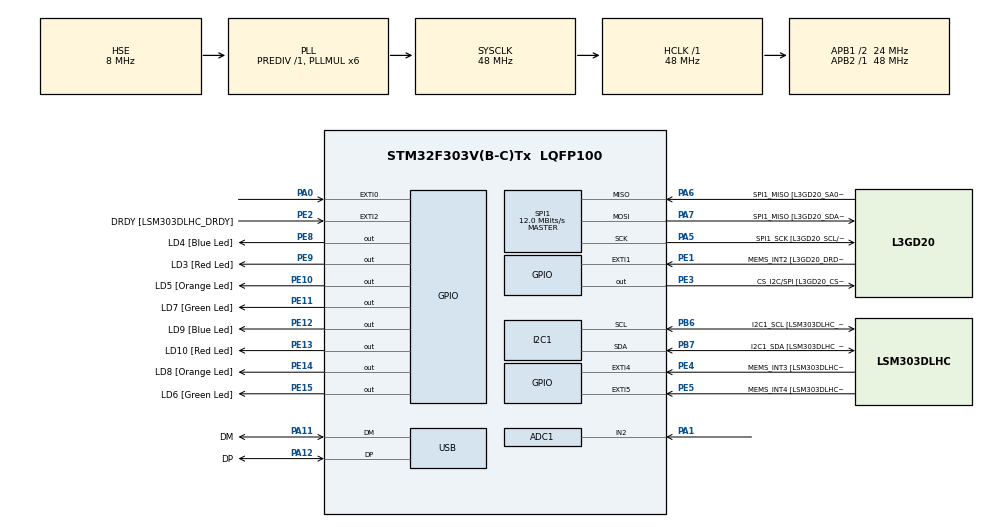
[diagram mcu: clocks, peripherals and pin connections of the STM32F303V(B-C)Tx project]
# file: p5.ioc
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ADC1.Channel-0\#ChannelRegularConversion=ADC_CHANNEL_2
ADC1.EnableAnalogWatchDog1=false
ADC1.NbrOfConversionFlag=1
ADC1.Offset-0\#ChannelRegularConversion=0
ADC1.OffsetNumber-0\#ChannelRegularConversion=ADC_OFFSET_NONE
ADC1.Rank-0\#ChannelRegularConversion=1
ADC1.SamplingTime-0\#ChannelRegularConversion=ADC_SAMPLETIME_601CYCLES_5
ADC1.SamplingTimeOPAMP-0\#ChannelRegularConversion=ADC_SAMPLETIME_19CYCLES_5
ADC1.master=1
I2C1.Timing=0x2000090E
I2C1.Timing-I2C=0x2000090E
Mcu.Family=STM32F3
Mcu.Name=STM32F303V(B-C)Tx
Mcu.Package=LQFP100
NVIC.ADC1_2_IRQn=true\:0\:0\:true\:false\:true\:true\:true
NVIC.EXTI0_IRQn=true\:1\:0\:true\:false\:true\:true\:true
NVIC.PriorityGroup=NVIC_PRIORITYGROUP_1
PA0.GPIO_PuPd=GPIO_PULLDOWN
PA0.Signal=GPXTI0
PA1.Mode=IN2-Single-Ended
PA1.Signal=ADC1_IN2
PA11.GPIO_Label=DM
PA11.Mode=Device
PA11.Signal=USB_DM
PA12.GPIO_Label=DP
PA12.Mode=Device
PA12.Signal=USB_DP
PA13.GPIO_Label=SWDIO
PA13.Mode=Serial_Wire
PA13.Signal=SYS_JTMS-SWDIO
PA14.GPIO_Label=SWCLK
PA14.Mode=Serial_Wire
PA14.Signal=SYS_JTCK-SWCLK
PA5.GPIO_Label=SPI1_SCK [L3GD20_SCL/SPC]
PA5.Mode=Full_Duplex_Master
PA5.Signal=SPI1_SCK
PA6.GPIO_Label=SPI1_MISO [L3GD20_SA0/SDO]
PA6.Mode=Full_Duplex_Master
PA6.Signal=SPI1_MISO
PA7.GPIO_Label=SPI1_MISO [L3GD20_SDA/SDI/SDO]
PA7.Mode=Full_Duplex_Master
PA7.Signal=SPI1_MOSI
PB3.GPIO_Label=SWO
PB3.Signal=SYS_JTDO-TRACESWO
PB6.GPIO_Label=I2C1_SCL [LSM303DLHC_SCL]
PB6.GPIO_Pu=GPIO_PULLUP
PB6.Mode=I2C
PB6.Signal=I2C1_SCL
PB7.GPIO_Label=I2C1_SDA [LSM303DLHC_SDA]
PB7.GPIO_Pu=GPIO_PULLUP
PB7.Mode=I2C
PB7.Signal=I2C1_SDA
PC14-OSC32_IN.GPIO_Label=OSC32_IN
PC14-OSC32_IN.Signal=RCC_OSC32_IN
PC15-OSC32_OUT.GPIO_Label=OSC32_OUT
PC15-OSC32_OUT.Signal=RCC_OSC32_OUT
PE1.GPIO_Label=MEMS_INT2 [L3GD20_DRDY/INT2]
PE1.GPIO_ModeDefaultEXTI=GPIO_MODE_EVT_RISING
PE1.Signal=GPXTI1
PE10.GPIO_Label=LD5 [Orange Led]
PE10.Signal=GPIO_Output
PE11.GPIO_Label=LD7 [Green Led]
PE11.Signal=GPIO_Output
PE12.GPIO_Label=LD9 [Blue Led]
PE12.Signal=GPIO_Output
PE13.GPIO_Label=LD10 [Red Led]
PE13.Signal=GPIO_Output
PE14.GPIO_Label=LD8 [Orange Led]
PE14.Signal=GPIO_Output
PE15.GPIO_Label=LD6 [Green Led]
PE15.Signal=GPIO_Output
PE2.GPIO_Label=DRDY [LSM303DLHC_DRDY]
PE2.GPIO_ModeDefaultEXTI=GPIO_MODE_EVT_RISING
PE2.Signal=GPXTI2
PE3.GPIO_Label=CS_I2C/SPI [L3GD20_CS_I2C/SPI]
PE3.Signal=GPIO_Output
PE4.GPIO_Label=MEMS_INT3 [LSM303DLHC_INT1]
PE4.GPIO_ModeDefaultEXTI=GPIO_MODE_EVT_RISING
PE4.Signal=GPXTI4
PE5.GPIO_Label=MEMS_INT4 [LSM303DLHC_INT2]
PE5.GPIO_ModeDefaultEXTI=GPIO_MODE_EVT_RISING
PE5.Signal=GPXTI5
PE8.GPIO_Label=LD4 [Blue Led]
PE8.Signal=GPIO_Output
PE9.GPIO_Label=LD3 [Red Led]
PE9.Signal=GPIO_Output
PF0-OSC_IN.GPIO_Label=OSC_IN
PF0-OSC_IN.Mode=HSE-External-Clock-Source
PF0-OSC_IN.Signal=RCC_OSC_IN
PF1-OSC_OUT.GPIO_Label=OSC_OUT
PF1-OSC_OUT.Signal=RCC_OSC_OUT
ProjectManager.HeapSize=0x200
ProjectManager.StackSize=0x400
ProjectManager.TargetToolchain=STM32CubeIDE
RCC.AHBFreq_Value=48000000
RCC.APB1CLKDivider=RCC_HCLK_DIV2
RCC.APB1Freq_Value=24000000
RCC.APB1TimFreq_Value=48000000
RCC.APB2Freq_Value=48000000
RCC.APB2TimFreq_Value=48000000
RCC.CortexFreq_Value=48000000
RCC.HCLKFreq_Value=48000000
RCC.HSE_VALUE=8000000
RCC.HSI_VALUE=8000000
RCC.LSE_VALUE=32768
RCC.PLLMUL=RCC_PLL_MUL6
RCC.SYSCLKFreq_VALUE=48000000
RCC.SYSCLKSourceVirtual=RCC_SYSCLKSOURCE_PLLCLK
RCC.USBFreq_Value=48000000
SPI1.BaudRatePrescaler=SPI_BAUDRATEPRESCALER_4
SPI1.BaudRatePrescaler-Full_Duplex_Master=SPI_BAUDRATEPRESCALER_2
SPI1.CalculateBaudRate=12.0 MBits/s
SPI1.CalculateBaudRate-Full_Duplex_Master=24.0 MBits/s
SPI1.Direction=SPI_DIRECTION_2LINES
SPI1.Mode=SPI_MODE_MASTER
SPI1.Mode-Full_Duplex_Master=SPI_MODE_MASTER
SPI1.VirtualType=VM_MASTER
board=STM32F3DISCOVERY

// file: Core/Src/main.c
/* USER CODE BEGIN Header */
/**
  ******************************************************************************
  * @file           : main.c
  * @brief          : Main program body
  ******************************************************************************
  * @attention
  *
  * <h2><center>&copy; Copyright (c) 2022 STMicroelectronics.
  * All rights reserved.</center></h2>
  *
  * This software component is licensed by ST under BSD 3-Clause license,
  * the "License"; You may not use this file except in compliance with the
  * License. You may obtain a copy of the License at:
  *                        opensource.org/licenses/BSD-3-Clause
  *
  ******************************************************************************
  */
/* USER CODE END Header */
#include "main.h"

/* USER CODE BEGIN Includes */
#include "LiquidCrystal.h"
/* USER CODE END Includes */

ADC_HandleTypeDef hadc1;

I2C_HandleTypeDef hi2c1;

SPI_HandleTypeDef hspi1;

PCD_HandleTypeDef hpcd_USB_FS;

void SystemClock_Config(void);
static void MX_GPIO_Init(void);
static void MX_I2C1_Init(void);
static void MX_SPI1_Init(void);
static void MX_USB_PCD_Init(void);
static void MX_ADC1_Init(void);

/* USER CODE BEGIN 0 */
unsigned char data[3]="";
typedef unsigned char byte;

byte customCharLock[8] = {
  0x00,
  0x0E,
  0x0A,
  0x0A,
  0x1F,
  0x1F,
  0x1F,
  0x00
};

byte nothing[8] = {
  0x00,
  0x00,
  0x00,
  0x00,
  0x00,
  0x00,
  0x00,
  0x00
};

byte true[8] = {
  0x00,
  0x00,
  0x01,
  0x02,
  0x14,
  0x08,
  0x00,
  0x00
};

byte false[8] = {
  0x00,
  0x00,
  0x11,
  0x0A,
  0x04,
  0x0A,
  0x11,
  0x00
};

byte smile[] = {
  0x00,
  0x0A,
  0x00,
  0x11,
  0x0E,
  0x00,
  0x00,
  0x00
};

byte unLock[] = {
  0x00,
  0x0E,
  0x0A,
  0x08,
  0x1F,
  0x1F,
  0x1F,
  0x00
};

void start_page() {
	LiquidCrystal(GPIOD, GPIO_PIN_8, GPIO_PIN_9, GPIO_PIN_10, GPIO_PIN_11, GPIO_PIN_12, GPIO_PIN_13, GPIO_PIN_14);
	setCursor(0,0);
	print("     Start Page           Safe Box");

	createChar(0, customCharLock);
	createChar(1, nothing);
	setCursor(0,1);
	write(0);
	write(1);
	write(0);
	write(1);
	write(0);
	write(1);
	write(0);
	write(1);
	write(0);
	write(1);
	write(0);
	write(1);
	write(0);
	write(1);
	write(0);
	write(1);
	write(0);
	write(1);
	write(0);
}

void password_page() {
	clear();
	setCursor(0,0);
	print("   Enter 4 degree      of the Password");

	setCursor(0,1);
	write(1);
	write(1);
	write(1);
	write(1);
	write(1);
	write(1);
	write(1);
	write(1);
	write(0);
	write(0);
	write(0);
	write(0);

}

void correct() {
	clear();
	createChar(2, true);
	setCursor(0,1);
	write(1);
	write(1);
	write(1);
	write(1);
	write(2);
	print("  correct  ");
	write(2);
	//print(data);
}

void false0() {
	clear();
	createChar(3, false);
	setCursor(0,1);
	write(1);
	write(1);
	write(1);
	write(1);
	write(1);
	write(3);
	print("  false  ");
	write(3);
	//print(data);
	print("          try again");
}

void safe_box() {
	clear();
	setCursor(0,0);
	print("welcome to safe box");
	createChar(4, smile);
	createChar(5, unLock);
	setCursor(0,2);
	write(1);
	write(1);
	write(1);
	write(1);
	write(1);
	write(1);
	write(1);
	write(4);
	write(5);
	write(5);
	write(5);
	write(5);
	write(4);

}

/* USER CODE END 0 */

int main(void)
{

  /* MCU Configuration--------------------------------------------------------*/

  /* Reset of all peripherals, Initializes the Flash interface and the Systick. */
  HAL_Init();

  /* Configure the system clock */
  SystemClock_Config();

  /* Initialize all configured peripherals */
  MX_GPIO_Init();
  MX_I2C1_Init();
  MX_SPI1_Init();
  MX_USB_PCD_Init();
  MX_ADC1_Init();
  /* USER CODE BEGIN 2 */

  HAL_ADC_Start_IT(&hadc1);

  /* USER CODE END 2 */

  /* Infinite loop */
  while (1)
  {

  }
}

void SystemClock_Config(void)
{
  RCC_OscInitTypeDef RCC_OscInitStruct = {0};
  RCC_ClkInitTypeDef RCC_ClkInitStruct = {0};
  RCC_PeriphCLKInitTypeDef PeriphClkInit = {0};

  /** Initializes the RCC Oscillators according to the specified parameters
  * in the RCC_OscInitTypeDef structure.
  */
  RCC_OscInitStruct.OscillatorType = RCC_OSCILLATORTYPE_HSI|RCC_OSCILLATORTYPE_HSE;
  RCC_OscInitStruct.HSEState = RCC_HSE_BYPASS;
  RCC_OscInitStruct.HSEPredivValue = RCC_HSE_PREDIV_DIV1;
  RCC_OscInitStruct.HSIState = RCC_HSI_ON;
  RCC_OscInitStruct.HSICalibrationValue = RCC_HSICALIBRATION_DEFAULT;
  RCC_OscInitStruct.PLL.PLLState = RCC_PLL_ON;
  RCC_OscInitStruct.PLL.PLLSource = RCC_PLLSOURCE_HSE;
  RCC_OscInitStruct.PLL.PLLMUL = RCC_PLL_MUL6;
  if (HAL_RCC_OscConfig(&RCC_OscInitStruct) != HAL_OK)
  {
    Error_Handler();
  }
  /** Initializes the CPU, AHB and APB buses clocks
  */
  RCC_ClkInitStruct.ClockType = RCC_CLOCKTYPE_HCLK|RCC_CLOCKTYPE_SYSCLK
                              |RCC_CLOCKTYPE_PCLK1|RCC_CLOCKTYPE_PCLK2;
  RCC_ClkInitStruct.SYSCLKSource = RCC_SYSCLKSOURCE_PLLCLK;
  RCC_ClkInitStruct.AHBCLKDivider = RCC_SYSCLK_DIV1;
  RCC_ClkInitStruct.APB1CLKDivider = RCC_HCLK_DIV2;
  RCC_ClkInitStruct.APB2CLKDivider = RCC_HCLK_DIV1;

  if (HAL_RCC_ClockConfig(&RCC_ClkInitStruct, FLASH_LATENCY_1) != HAL_OK)
  {
    Error_Handler();
  }
  PeriphClkInit.PeriphClockSelection = RCC_PERIPHCLK_USB|RCC_PERIPHCLK_I2C1
                              |RCC_PERIPHCLK_ADC12;
  PeriphClkInit.Adc12ClockSelection = RCC_ADC12PLLCLK_DIV1;
  PeriphClkInit.I2c1ClockSelection = RCC_I2C1CLKSOURCE_HSI;
  PeriphClkInit.USBClockSelection = RCC_USBCLKSOURCE_PLL;
  if (HAL_RCCEx_PeriphCLKConfig(&PeriphClkInit) != HAL_OK)
  {
    Error_Handler();
  }
}

static void MX_ADC1_Init(void)
{

  ADC_MultiModeTypeDef multimode = {0};
  ADC_ChannelConfTypeDef sConfig = {0};

  /** Common config
  */
  hadc1.Instance = ADC1;
  hadc1.Init.ClockPrescaler = ADC_CLOCK_ASYNC_DIV1;
  hadc1.Init.Resolution = ADC_RESOLUTION_12B;
  hadc1.Init.ScanConvMode = ADC_SCAN_DISABLE;
  hadc1.Init.ContinuousConvMode = DISABLE;
  hadc1.Init.DiscontinuousConvMode = DISABLE;
  hadc1.Init.ExternalTrigConvEdge = ADC_EXTERNALTRIGCONVEDGE_NONE;
  hadc1.Init.ExternalTrigConv = ADC_SOFTWARE_START;
  hadc1.Init.DataAlign = ADC_DATAALIGN_RIGHT;
  hadc1.Init.NbrOfConversion = 1;
  hadc1.Init.DMAContinuousRequests = DISABLE;
  hadc1.Init.EOCSelection = ADC_EOC_SINGLE_CONV;
  hadc1.Init.LowPowerAutoWait = DISABLE;
  hadc1.Init.Overrun = ADC_OVR_DATA_OVERWRITTEN;
  if (HAL_ADC_Init(&hadc1) != HAL_OK)
  {
    Error_Handler();
  }
  /** Configure the ADC multi-mode
  */
  multimode.Mode = ADC_MODE_INDEPENDENT;
  if (HAL_ADCEx_MultiModeConfigChannel(&hadc1, &multimode) != HAL_OK)
  {
    Error_Handler();
  }
  /** Configure Regular Channel
  */
  sConfig.Channel = ADC_CHANNEL_2;
  sConfig.Rank = ADC_REGULAR_RANK_1;
  sConfig.SingleDiff = ADC_SINGLE_ENDED;
  sConfig.SamplingTime = ADC_SAMPLETIME_601CYCLES_5;
  sConfig.OffsetNumber = ADC_OFFSET_NONE;
  sConfig.Offset = 0;
  if (HAL_ADC_ConfigChannel(&hadc1, &sConfig) != HAL_OK)
  {
    Error_Handler();
  }

}

static void MX_I2C1_Init(void)
{

  hi2c1.Instance = I2C1;
  hi2c1.Init.Timing = 0x2000090E;
  hi2c1.Init.OwnAddress1 = 0;
  hi2c1.Init.AddressingMode = I2C_ADDRESSINGMODE_7BIT;
  hi2c1.Init.DualAddressMode = I2C_DUALADDRESS_DISABLE;
  hi2c1.Init.OwnAddress2 = 0;
  hi2c1.Init.OwnAddress2Masks = I2C_OA2_NOMASK;
  hi2c1.Init.GeneralCallMode = I2C_GENERALCALL_DISABLE;
  hi2c1.Init.NoStretchMode = I2C_NOSTRETCH_DISABLE;
  if (HAL_I2C_Init(&hi2c1) != HAL_OK)
  {
    Error_Handler();
  }
  /** Configure Analogue filter
  */
  if (HAL_I2CEx_ConfigAnalogFilter(&hi2c1, I2C_ANALOGFILTER_ENABLE) != HAL_OK)
  {
    Error_Handler();
  }
  /** Configure Digital filter
  */
  if (HAL_I2CEx_ConfigDigitalFilter(&hi2c1, 0) != HAL_OK)
  {
    Error_Handler();
  }

}

static void MX_SPI1_Init(void)
{

  /* SPI1 parameter configuration*/
  hspi1.Instance = SPI1;
  hspi1.Init.Mode = SPI_MODE_MASTER;
  hspi1.Init.Direction = SPI_DIRECTION_2LINES;
  hspi1.Init.DataSize = SPI_DATASIZE_4BIT;
  hspi1.Init.CLKPolarity = SPI_POLARITY_LOW;
  hspi1.Init.CLKPhase = SPI_PHASE_1EDGE;
  hspi1.Init.NSS = SPI_NSS_SOFT;
  hspi1.Init.BaudRatePrescaler = SPI_BAUDRATEPRESCALER_4;
  hspi1.Init.FirstBit = SPI_FIRSTBIT_MSB;
  hspi1.Init.TIMode = SPI_TIMODE_DISABLE;
  hspi1.Init.CRCCalculation = SPI_CRCCALCULATION_DISABLE;
  hspi1.Init.CRCPolynomial = 7;
  hspi1.Init.CRCLength = SPI_CRC_LENGTH_DATASIZE;
  hspi1.Init.NSSPMode = SPI_NSS_PULSE_ENABLE;
  if (HAL_SPI_Init(&hspi1) != HAL_OK)
  {
    Error_Handler();
  }

}

static void MX_USB_PCD_Init(void)
{

  hpcd_USB_FS.Instance = USB;
  hpcd_USB_FS.Init.dev_endpoints = 8;
  hpcd_USB_FS.Init.speed = PCD_SPEED_FULL;
  hpcd_USB_FS.Init.phy_itface = PCD_PHY_EMBEDDED;
  hpcd_USB_FS.Init.low_power_enable = DISABLE;
  hpcd_USB_FS.Init.battery_charging_enable = DISABLE;
  if (HAL_PCD_Init(&hpcd_USB_FS) != HAL_OK)
  {
    Error_Handler();
  }

}

static void MX_GPIO_Init(void)
{
  GPIO_InitTypeDef GPIO_InitStruct = {0};

  /* GPIO Ports Clock Enable */
  __HAL_RCC_GPIOE_CLK_ENABLE();
  __HAL_RCC_GPIOC_CLK_ENABLE();
  __HAL_RCC_GPIOF_CLK_ENABLE();
  __HAL_RCC_GPIOA_CLK_ENABLE();
  __HAL_RCC_GPIOB_CLK_ENABLE();

  /*Configure GPIO pin Output Level */
  HAL_GPIO_WritePin(GPIOE, CS_I2C_SPI_Pin|LD4_Pin|LD3_Pin|LD5_Pin
                          |LD7_Pin|LD9_Pin|LD10_Pin|LD8_Pin
                          |LD6_Pin, GPIO_PIN_RESET);

  /*Configure GPIO pins : DRDY_Pin MEMS_INT3_Pin MEMS_INT4_Pin MEMS_INT2_Pin */
  GPIO_InitStruct.Pin = DRDY_Pin|MEMS_INT3_Pin|MEMS_INT4_Pin|MEMS_INT2_Pin;
  GPIO_InitStruct.Mode = GPIO_MODE_EVT_RISING;
  GPIO_InitStruct.Pull = GPIO_NOPULL;
  HAL_GPIO_Init(GPIOE, &GPIO_InitStruct);

  /*Configure GPIO pins : CS_I2C_SPI_Pin LD4_Pin LD3_Pin LD5_Pin
                           LD7_Pin LD9_Pin LD10_Pin LD8_Pin
                           LD6_Pin */
  GPIO_InitStruct.Pin = CS_I2C_SPI_Pin|LD4_Pin|LD3_Pin|LD5_Pin
                          |LD7_Pin|LD9_Pin|LD10_Pin|LD8_Pin
                          |LD6_Pin;
  GPIO_InitStruct.Mode = GPIO_MODE_OUTPUT_PP;
  GPIO_InitStruct.Pull = GPIO_NOPULL;
  GPIO_InitStruct.Speed = GPIO_SPEED_FREQ_LOW;
  HAL_GPIO_Init(GPIOE, &GPIO_InitStruct);

  /*Configure GPIO pin : PA0 */
  GPIO_InitStruct.Pin = GPIO_PIN_0;
  GPIO_InitStruct.Mode = GPIO_MODE_IT_RISING;
  GPIO_InitStruct.Pull = GPIO_PULLDOWN;
  HAL_GPIO_Init(GPIOA, &GPIO_InitStruct);

  /* EXTI interrupt init*/
  HAL_NVIC_SetPriority(EXTI0_IRQn, 1, 0);
  HAL_NVIC_EnableIRQ(EXTI0_IRQn);

}

void Error_Handler(void)
{
  __disable_irq();
  while (1)
  {
  }
}

/************************ (C) COPYRIGHT STMicroelectronics *****END OF FILE****/
